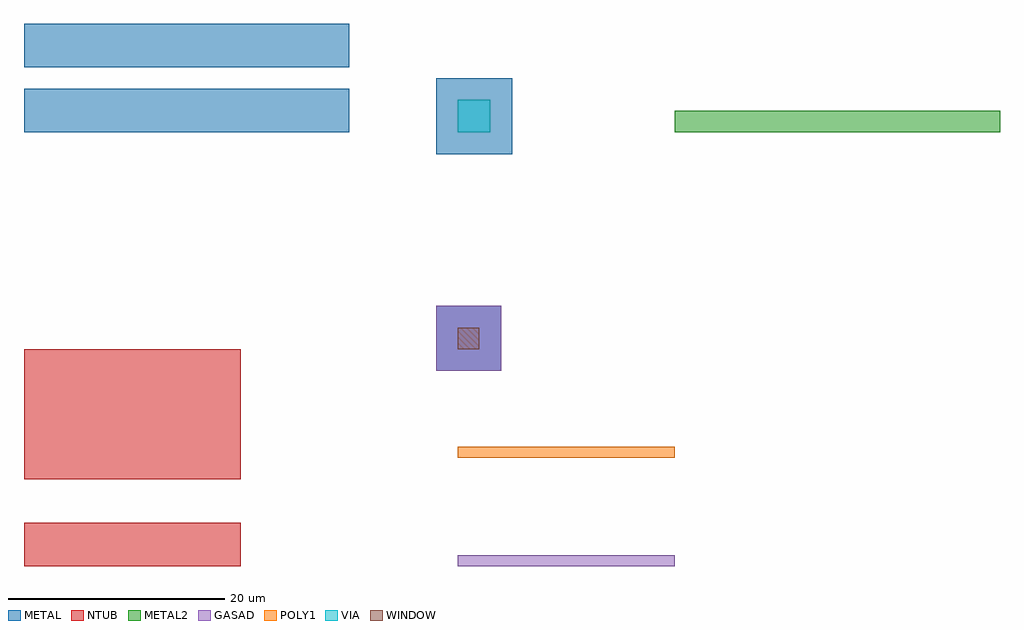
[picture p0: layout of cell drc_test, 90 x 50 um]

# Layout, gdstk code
import gdstk
lib = gdstk.Library(unit=1e-6, precision=1e-09)
def R(c, l, rs):  # rectangles x0, y0, x1, y1
    for r in rs: c.add(gdstk.rectangle(r[:2], r[2:], *l))
NTUB = (1, 0)
GASAD = (2, 0)
POLY1 = (4, 0)
WINDOW = (6, 0)
METAL = (7, 0)
METAL2 = (9, 0)
VIA = (10, 0)

drc_test = lib.new_cell('drc_test')
R(drc_test, NTUB, [(0,0,20,4), (0,8,20,20)])
R(drc_test, GASAD, [(40,0,60,1), (38,18,44,24)])
R(drc_test, POLY1, [(40,10,60,11)])
R(drc_test, WINDOW, [(40,20,42,22)])
R(drc_test, METAL, [(38,18,44,24), (38,38,45,45), (0,40,30,44), (0,46,30,50)])
R(drc_test, METAL2, [(60,40,90,42)])
R(drc_test, VIA, [(40,40,43,43)])

lib.write_gds('drc_test.gds')
